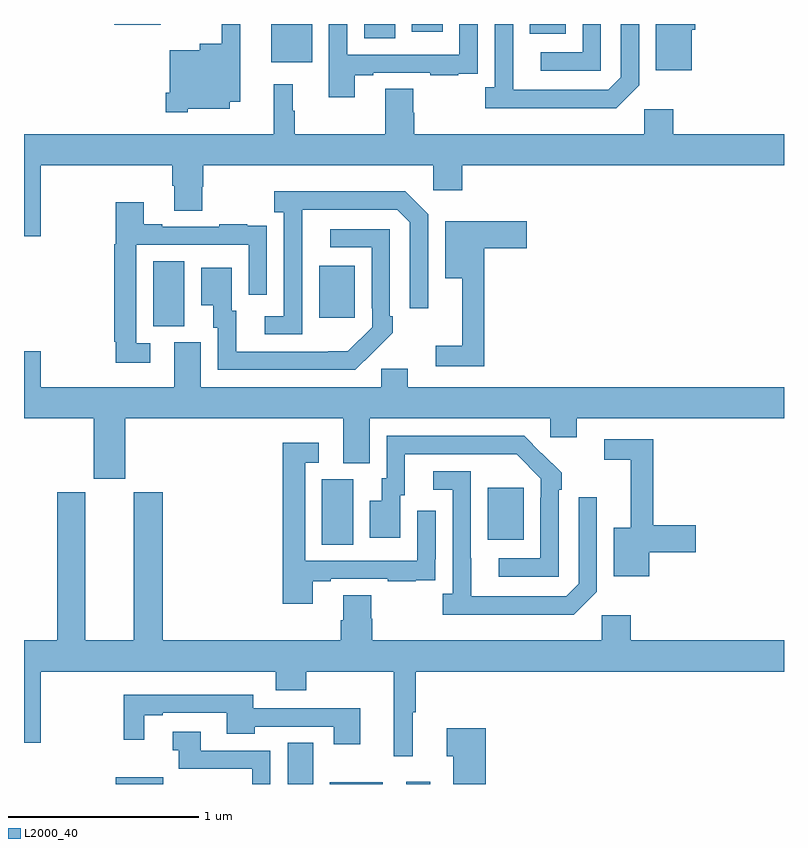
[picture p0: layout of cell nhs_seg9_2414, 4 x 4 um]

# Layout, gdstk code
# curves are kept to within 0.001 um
import gdstk
lib = gdstk.Library(unit=1e-6, precision=1e-09)
def R(c, l, rs):  # rectangles x0, y0, x1, y1
    for r in rs: c.add(gdstk.rectangle(r[:2], r[2:], *l))
def P(c, l, *ps):  # polygons
    for p in ps: c.add(gdstk.Polygon(p, *l))
L2000_40 = (2000, 40)

nhs_seg9_2414 = lib.new_cell('nhs_seg9_2414')
R(nhs_seg9_2414, L2000_40, [(249.482,1190.5,249.733,1190.536), (250.388,1190.5,250.522,1190.717), (250.61,1190.5,250.888,1190.509), (251.013,1190.5,251.137,1190.512), (250.568,1191.76,250.732,1192.104), (251.441,1191.785,251.629,1192.06), (249.68,1192.909,249.844,1193.252), (250.553,1192.953,250.741,1193.227), (250.301,1194.299,250.516,1194.5), (250.79,1194.424,250.954,1194.5), (251.663,1194.449,251.851,1194.5), (251.042,1194.459,251.203,1194.5), (249.474,1194.497,249.72,1194.5)])
P(nhs_seg9_2414, L2000_40, [(252.036,1194.5),(251.94,1194.5),(251.94,1194.351),(251.721,1194.351),(251.721,1194.255),(252.036,1194.255)],
  [(252.237,1194.177),(252.237,1194.5),(252.141,1194.5),(252.141,1194.219),(252.075,1194.153),(251.575,1194.153),(251.574,1194.5),(251.478,1194.5),(251.478,1194.166),(251.427,1194.166),(251.427,1194.056),(252.116,1194.056)],
  [(250.741,1194.231),(250.837,1194.231),(250.837,1194.243),(251.137,1194.243),(251.137,1194.231),(251.285,1194.231),(251.285,1194.237),(251.387,1194.237),(251.387,1194.346),(251.388,1194.346),(251.388,1194.5),(251.292,1194.5),(251.292,1194.339),(250.701,1194.339),(250.701,1194.5),(250.605,1194.5),(250.605,1194.114),(250.741,1194.114)],
  [(249.861,1194.053),(250.084,1194.053),(250.084,1194.092),(250.138,1194.092),(250.138,1194.5),(250.041,1194.5),(250.041,1194.397),(249.926,1194.397),(249.926,1194.361),(249.767,1194.361),(249.767,1194.139),(249.746,1194.139),(249.746,1194.035),(249.861,1194.035)],
  [(252.514,1194.471),(252.533,1194.471),(252.533,1194.5),(252.326,1194.5),(252.326,1194.257),(252.514,1194.257)],
  [(249.088,1193.756),(249.779,1193.756),(249.779,1193.65),(249.791,1193.65),(249.791,1193.518),(249.939,1193.518),(249.939,1193.643),(249.944,1193.643),(249.944,1193.756),(251.154,1193.756),(251.154,1193.625),(251.306,1193.625),(251.306,1193.756),(253,1193.756),(253,1193.92),(252.416,1193.92),(252.416,1194.052),(252.264,1194.052),(252.264,1193.92),(251.054,1193.92),(251.054,1194.033),(251.049,1194.033),(251.049,1194.158),(250.901,1194.158),(250.901,1193.92),(250.426,1193.92),(250.426,1194.044),(250.415,1194.044),(250.415,1194.184),(250.315,1194.184),(250.315,1193.92),(249,1193.92),(249,1193.382),(249.088,1193.382)],
  [(250.464,1193.323),(250.465,1193.523),(250.965,1193.523),(251.031,1193.457),(251.031,1193.004),(251.127,1193.004),(251.127,1193.499),(251.006,1193.62),(250.317,1193.62),(250.317,1193.51),(250.368,1193.51),(250.368,1192.962),(250.266,1192.962),(250.266,1192.866),(250.464,1192.866)],
  [(249.664,1192.821),(249.591,1192.821),(249.591,1193.337),(250.182,1193.337),(250.182,1193.076),(250.278,1193.076),(250.278,1193.33),(250.277,1193.33),(250.277,1193.439),(250.175,1193.439),(250.175,1193.446),(250.027,1193.446),(250.027,1193.433),(249.727,1193.433),(249.727,1193.446),(249.631,1193.446),(249.631,1193.563),(249.483,1193.563),(249.483,1193.34),(249.475,1193.34),(249.475,1192.828),(249.483,1192.828),(249.483,1192.716),(249.664,1192.716)],
  [(251.423,1193.321),(251.647,1193.321),(251.647,1193.463),(251.216,1193.463),(251.216,1193.162),(251.306,1193.162),(251.306,1192.807),(251.166,1192.807),(251.166,1192.698),(251.423,1192.698)],
  [(250.835,1192.771),(250.836,1192.77),(250.941,1192.875),(250.941,1192.963),(250.926,1192.963),(250.926,1193.421),(250.611,1193.421),(250.611,1193.325),(250.83,1193.325),(250.83,1193.005),(250.833,1193.005),(250.833,1192.905),(250.705,1192.777),(250.117,1192.776),(250.117,1192.992),(250.093,1192.992),(250.093,1193.218),(249.932,1193.218),(249.932,1193.021),(249.995,1193.021),(249.995,1192.902),(250.02,1192.902),(250.02,1192.68),(250.744,1192.68)],
  [(249.532,1192.424),(250.679,1192.424),(250.679,1192.189),(250.819,1192.189),(250.819,1192.424),(251.769,1192.424),(251.769,1192.326),(251.908,1192.326),(251.908,1192.424),(253,1192.424),(253,1192.588),(251.02,1192.588),(251.02,1192.686),(250.881,1192.686),(250.881,1192.588),(249.931,1192.588),(249.931,1192.824),(249.791,1192.824),(249.791,1192.588),(249.088,1192.588),(249.088,1192.777),(249,1192.777),(249,1192.424),(249.368,1192.424),(249.368,1192.107),(249.532,1192.107)],
  [(251.814,1192.049),(251.829,1192.049),(251.829,1192.137),(251.632,1192.332),(250.908,1192.332),(250.908,1192.11),(250.883,1192.11),(250.883,1191.991),(250.82,1191.991),(250.82,1191.795),(250.981,1191.795),(250.981,1192.02),(251.005,1192.02),(251.005,1192.236),(251.593,1192.236),(251.721,1192.107),(251.721,1192.007),(251.718,1192.007),(251.718,1191.687),(251.499,1191.687),(251.499,1191.591),(251.814,1191.591)],
  [(252.292,1191.721),(252.535,1191.721),(252.535,1191.863),(252.311,1191.863),(252.311,1192.314),(252.054,1192.314),(252.054,1192.206),(252.194,1192.206),(252.194,1191.85),(252.104,1191.85),(252.104,1191.593),(252.292,1191.593)],
  [(250.519,1191.567),(250.615,1191.567),(250.615,1191.579),(250.915,1191.579),(250.915,1191.567),(251.063,1191.567),(251.063,1191.573),(251.165,1191.573),(251.165,1191.682),(251.166,1191.682),(251.166,1191.937),(251.07,1191.937),(251.07,1191.675),(250.479,1191.675),(250.479,1192.191),(250.552,1192.191),(250.552,1192.297),(250.363,1192.297),(250.363,1191.45),(250.519,1191.45)],
  [(252.015,1191.513),(252.015,1192.009),(251.919,1192.009),(251.919,1191.555),(251.853,1191.489),(251.353,1191.489),(251.352,1192.146),(251.154,1192.146),(251.154,1192.05),(251.256,1192.05),(251.256,1191.502),(251.205,1191.502),(251.205,1191.392),(251.894,1191.392)],
  [(250.827,1191.369),(250.827,1191.494),(250.679,1191.494),(250.679,1191.362),(250.667,1191.362),(250.667,1191.256),(249.731,1191.256),(249.731,1192.035),(249.578,1192.035),(249.578,1191.256),(249.322,1191.256),(249.322,1192.035),(249.175,1192.035),(249.175,1191.256),(249,1191.256),(249,1190.718),(249.088,1190.718),(249.088,1191.092),(250.325,1191.092),(250.325,1190.993),(250.485,1190.993),(250.485,1191.092),(250.946,1191.092),(250.946,1190.646),(251.045,1190.646),(251.045,1190.877),(251.063,1190.877),(251.063,1191.092),(253,1191.092),(253,1191.256),(252.194,1191.256),(252.194,1191.388),(252.042,1191.388),(252.042,1191.256),(250.832,1191.256),(250.832,1191.369)],
  [(250.771,1190.898),(250.207,1190.898),(250.207,1190.97),(249.525,1190.97),(249.525,1190.733),(249.634,1190.733),(249.634,1190.862),(249.73,1190.862),(249.73,1190.874),(250.067,1190.874),(250.067,1190.765),(250.215,1190.765),(250.215,1190.802),(250.631,1190.802),(250.631,1190.709),(250.771,1190.709)],
  [(251.429,1190.794),(251.225,1190.794),(251.225,1190.647),(251.258,1190.647),(251.258,1190.5),(251.429,1190.5)],
  [(250.296,1190.676),(249.931,1190.676),(249.931,1190.775),(249.783,1190.775),(249.783,1190.678),(249.814,1190.678),(249.814,1190.58),(250.2,1190.58),(250.2,1190.5),(250.296,1190.5)])

lib.write_gds('nhs_seg9_2414.gds')
